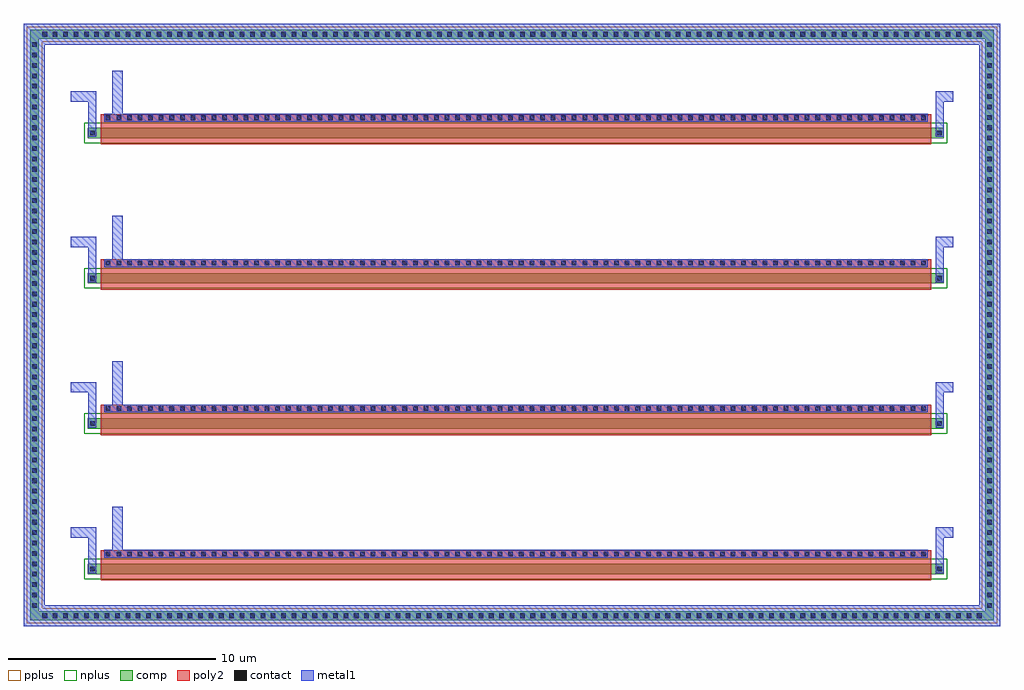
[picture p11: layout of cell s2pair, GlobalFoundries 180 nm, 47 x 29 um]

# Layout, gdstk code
import gdstk
lib = gdstk.Library(unit=1e-6, precision=1e-09)
def R(c, l, rs):  # rectangles x0, y0, x1, y1
    for r in rs: c.add(gdstk.rectangle(r[:2], r[2:], *l))
def A(c, l, x, y, w, h, nx, ny, dx, dy):  # array of equal rectangles
    R(c, l, [(x+i*dx, y+j*dy, x+i*dx+w, y+j*dy+h) for i in range(nx) for j in range(ny)])
comp = (22, 0)
poly2 = (30, 0)
pplus = (31, 0)
nplus = (32, 0)
contact = (33, 0)
metal1 = (34, 0)

nfet__6 = lib.new_cell('nfet__6')
R(nfet__6, comp, [(-0.42,0,0,0.5), (0,0,40.38,0.5), (40.38,0,40.8,0.5)])
R(nfet__6, poly2, [(0.19,-0.3,40.19,0.8), (0.19,0.8,40.19,1.16)])
R(nfet__6, nplus, [(-0.59,-0.24,40.97,0.74)])
A(nfet__6, contact, 0.445, 0.87, 0.22, 0.22, 78, 1, 0.51, 0)
R(nfet__6, contact, [(-0.32,0.14,-0.1,0.36), (40.48,0.14,40.7,0.36)])
R(nfet__6, metal1, [(-0.4,0.055,-0.02,0.445), (40.4,0.055,40.78,0.445), (0.365,0.79,40.015,1.17)])

s2pair = lib.new_cell('s2pair')
R(s2pair, comp, [(-3.21,-2.21,-2.79,26.21), (-2.79,-2.21,42.79,-1.79), (42.79,-2.21,43.21,26.21), (-2.79,25.79,42.79,26.21)])
R(s2pair, pplus, [(-3.37,-2.37,43.37,-1.63), (-3.37,-2.37,-2.63,26.37), (42.63,-2.37,43.37,26.37), (-3.37,25.63,43.37,26.37)])
A(s2pair, contact, -2.61, -2.11, 0.22, 0.22, 91, 2, 0.5, 28)
A(s2pair, contact, -3.11, -1.61, 0.22, 0.22, 1, 55, 0, 0.5)
A(s2pair, contact, 42.89, -1.61, 0.22, 0.22, 1, 55, 0, 0.5)
A(s2pair, metal1, -0.4, 0.425, 0.38, 1.825, 1, 4, 0, 7)
A(s2pair, metal1, 40.4, 0.425, 0.38, 1.825, 1, 4, 0, 7)
A(s2pair, metal1, 0.75, 1.15, 0.5, 2.1, 1, 4, 0, 7)
A(s2pair, metal1, -1.25, 1.75, 1.23, 0.5, 1, 4, 0, 7)
A(s2pair, metal1, 40.4, 1.75, 0.85, 0.5, 1, 4, 0, 7)
R(s2pair, metal1, [(-3.5,-2.5,-2.5,26.5), (-2.5,-2.5,42.5,-1.5), (42.5,-2.5,43.5,26.5), (-2.5,25.5,42.5,26.5)])
s2pair.add(gdstk.Reference(nfet__6, (0,0)))
s2pair.add(gdstk.Reference(nfet__6, (0,7)))
s2pair.add(gdstk.Reference(nfet__6, (0,14)))
s2pair.add(gdstk.Reference(nfet__6, (0,21)))

lib.write_gds('s2pair.gds')
